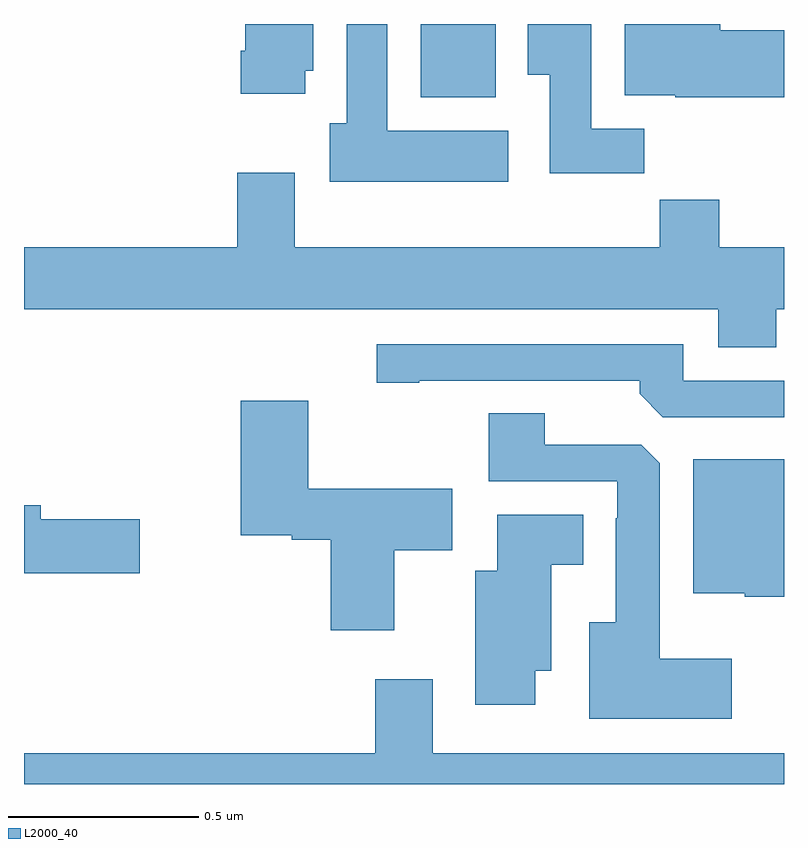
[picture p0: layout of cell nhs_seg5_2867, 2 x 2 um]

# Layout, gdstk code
import gdstk
lib = gdstk.Library(unit=1e-6, precision=1e-09)
def R(c, l, rs):  # rectangles x0, y0, x1, y1
    for r in rs: c.add(gdstk.rectangle(r[:2], r[2:], *l))
def P(c, l, *ps):  # polygons
    for p in ps: c.add(gdstk.Polygon(p, *l))
L2000_40 = (2000, 40)

nhs_seg5_2867 = lib.new_cell('nhs_seg5_2867')
R(nhs_seg5_2867, L2000_40, [(150.044,902.606,150.241,902.799)])
P(nhs_seg5_2867, L2000_40, [(150.274,902.518),(149.956,902.518),(149.956,902.799),(149.849,902.799),(149.849,902.538),(149.804,902.538),(149.804,902.384),(150.274,902.384)],
  [(150.632,902.524),(150.493,902.524),(150.493,902.799),(150.326,902.799),(150.326,902.665),(150.383,902.665),(150.383,902.406),(150.632,902.406)],
  [(151,902.783),(150.832,902.783),(150.832,902.799),(150.581,902.799),(150.581,902.612),(150.714,902.612),(150.714,902.606),(151,902.606)],
  [(149.74,902.676),(149.761,902.676),(149.761,902.799),(149.582,902.799),(149.582,902.728),(149.57,902.728),(149.57,902.616),(149.74,902.616)],
  [(150.98,902.048),(151,902.048),(151,902.212),(150.83,902.212),(150.83,902.336),(150.673,902.336),(150.673,902.212),(149.713,902.212),(149.713,902.407),(149.561,902.407),(149.561,902.212),(149,902.212),(149,902.048),(150.827,902.048),(150.827,901.949),(150.98,901.949)],
  [(151,901.86),(150.735,901.86),(150.735,901.956),(149.928,901.956),(149.928,901.855),(150.04,901.855),(150.04,901.86),(150.62,901.86),(150.62,901.826),(150.681,901.764),(151,901.764)],
  [(149.974,901.414),(150.127,901.414),(150.127,901.576),(149.748,901.576),(149.748,901.807),(149.57,901.807),(149.57,901.454),(149.705,901.454),(149.705,901.442),(149.807,901.442),(149.807,901.203),(149.974,901.203)],
  [(150.862,901.129),(150.673,901.129),(150.673,901.643),(150.624,901.692),(150.37,901.692),(150.37,901.775),(150.223,901.775),(150.223,901.596),(150.561,901.596),(150.561,901.499),(150.557,901.499),(150.557,901.225),(150.488,901.225),(150.488,900.971),(150.862,900.971)],
  [(151,901.654),(150.761,901.654),(150.761,901.301),(150.897,901.301),(150.897,901.292),(151,901.292)],
  [(149.305,901.496),(149.044,901.496),(149.044,901.532),(149,901.532),(149,901.354),(149.305,901.354)],
  [(150.346,901.097),(150.388,901.097),(150.388,901.376),(150.472,901.376),(150.472,901.507),(150.245,901.507),(150.245,901.36),(150.188,901.36),(150.188,901.008),(150.346,901.008)],
  [(151,900.88),(150.076,900.88),(150.076,901.075),(149.924,901.075),(149.924,900.88),(149,900.88),(149,900.799),(151,900.799)])

lib.write_gds('nhs_seg5_2867.gds')
